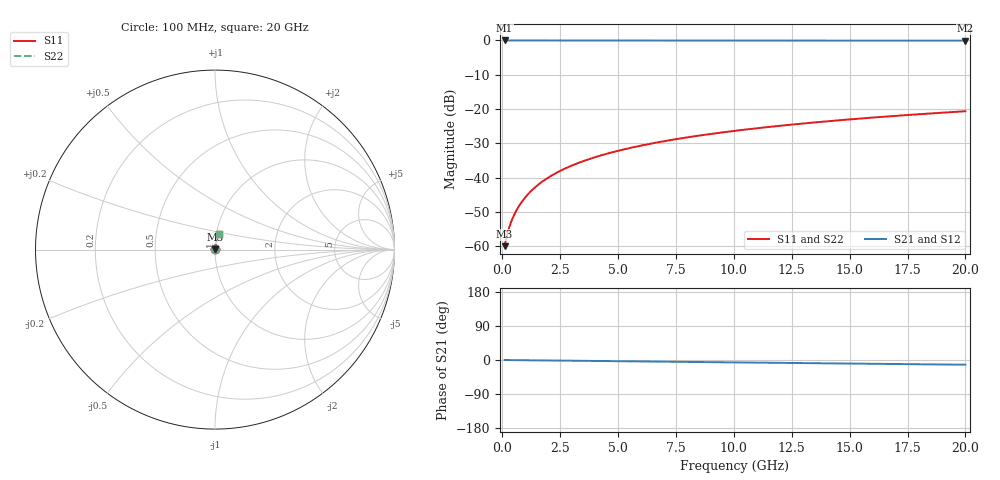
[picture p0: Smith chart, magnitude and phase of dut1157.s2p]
! Touchstone file exported from HFSS 2026.1.0
!  File:  C:/ffzhzh/LocalFiles/Ansys_Project_Files/temp_train_TMRDL_1157_1783162246_18472.aedt
!  Generated:  06:51:58 PM Jul  4, 2026
!  Design:  TMRDL
!  Project:  temp_train_TMRDL_1157_1783162246_18472
! Variables:
!  h_bsmrdl = 2um
!  h_ox = 20um
!  h_rdl = 5um
!  h_sub = 80um
!  h_tmrdl = 4.02um
!  h_tsv = 80um
!  h_via = 3um
!  l_bsmrdl = 300um
!  l_sub = 572.7um
!  l_tmrdl = 172.7um
!  m_sub = 200um
!  pitch = 41.31um
!  r_tsv = 6um
!  s_tmrdl = 10um
!  w_bsmrdl = 18um
!  w_sub = 500um
!  w_tmrdl = 25.61um
!  x_tsv_center1 = 185.505um
!  x_tsv_center2 = 503.505um
!  x_tsv_center3 = 701.815um
!  x_tsv_center4 = 1019.815um
!  x_tsv_center5 = 1218.125um
!  x_tsv_center6 = 1536.125um
# GHz S MA R 50.000000
! Terminal data exported
! Port[1] = TM_RDL1_1_T1
! Port[2] = TM_RDL1_1_T2
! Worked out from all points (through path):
!   200 points, 100 MHz to 20 GHz, reference 50 ohm
!   highest |S21| = -0.01 dB at 100 MHz (marker M1); lowest = -0.1 dB at 20 GHz (marker M2)
!   group delay of S21, straight-line fit = 1.73 ps
!   lowest |S11| = -60.0 dB at 100 MHz (marker M3), VSWR 1.00, Z = 50.1 + j0.0588 ohm
!   |S11| at or under -10 dB: start of sweep to end of sweep
!   |S22| runs from -60.0 to -20.6 dB; largest |S21 - S12| = 2e-15
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0.1  0.001002 35.8  0.9992 -0.1  0.9992 -0.1  0.001002 35.8
! Gamma 0 0 0 0
! Port Impedance 50 0 50 0
0.2  0.001431 52.2  0.9991 -0.1  0.9991 -0.1  0.001431 52.2
0.3  0.001887 60.3  0.9991 -0.2  0.9991 -0.2  0.001887 60.3
0.4  0.002346 65.3  0.999 -0.3  0.999 -0.3  0.002346 65.3
0.5  0.002809 68.8  0.999 -0.3  0.999 -0.3  0.002809 68.8
0.6  0.003277 71.4  0.999 -0.4  0.999 -0.4  0.003277 71.4
0.8  0.004227 75.0  0.9989 -0.5  0.9989 -0.5  0.004227 75.0
1.1  0.005678 78.2  0.9989 -0.7  0.9989 -0.7  0.005678 78.2
1.3  0.006654 79.5  0.9989 -0.8  0.9989 -0.8  0.006654 79.5
1.6  0.008124 80.8  0.9988 -1.0  0.9988 -1.0  0.008124 80.8
2.1  0.01058 81.9  0.9987 -1.4  0.9987 -1.4  0.01058 81.9
2.7  0.01352 82.6  0.9986 -1.7  0.9986 -1.7  0.01352 82.6
3.5  0.01741 82.8  0.9983 -2.2  0.9983 -2.2  0.01741 82.8
4.2  0.02079 82.7  0.9981 -2.7  0.9981 -2.7  0.02079 82.7
5  0.02462 82.5  0.9978 -3.2  0.9978 -3.2  0.02462 82.5
5.9  0.02888 82.2  0.9975 -3.8  0.9975 -3.8  0.02888 82.2
6.8  0.03311 81.8  0.9972 -4.3  0.9972 -4.3  0.03311 81.8
8.3  0.04008 81.1  0.9966 -5.3  0.9966 -5.3  0.04008 81.1
10.1  0.04837 80.2  0.9959 -6.4  0.9959 -6.4  0.04837 80.2
13.4  0.06339 78.5  0.9946 -8.4  0.9946 -8.4  0.06339 78.5
16.7  0.07823 76.8  0.9931 -10.4  0.9931 -10.4  0.07823 76.8
20  0.09288 75.0  0.9915 -12.5  0.9915 -12.5  0.09288 74.9
